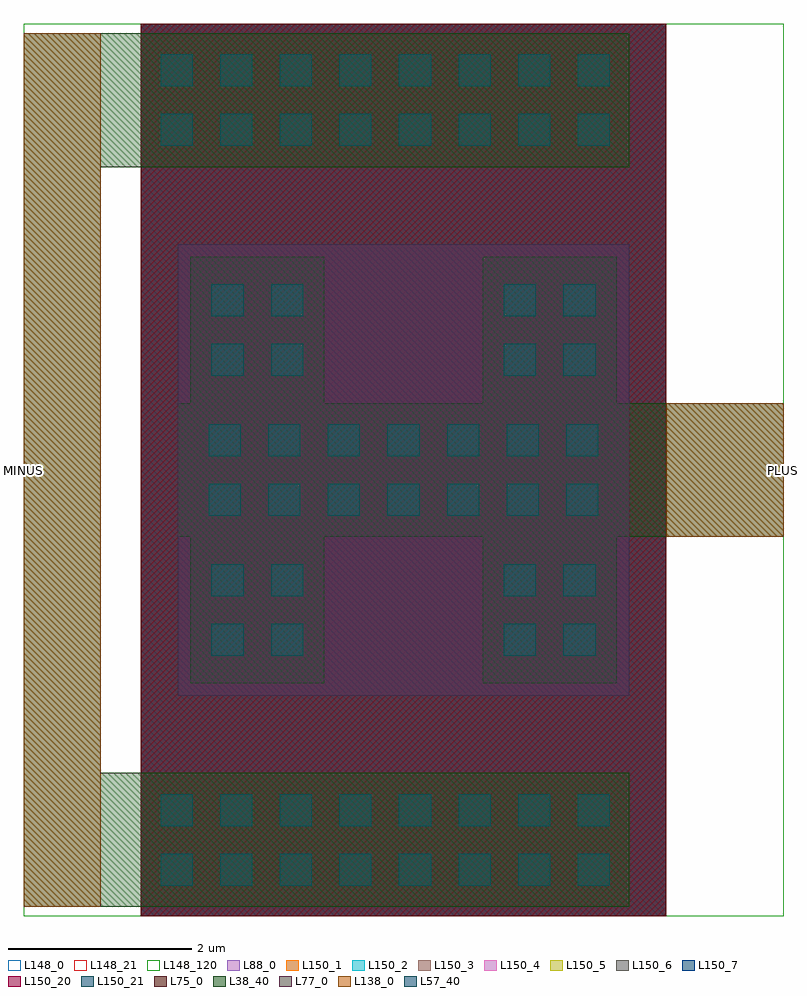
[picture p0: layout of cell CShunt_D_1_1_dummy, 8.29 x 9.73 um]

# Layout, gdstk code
import gdstk
lib = gdstk.Library(unit=1e-6, precision=1e-09)
def R(c, l, rs):  # rectangles x0, y0, x1, y1
    for r in rs: c.add(gdstk.rectangle(r[:2], r[2:], *l))
def A(c, l, x, y, w, h, nx, ny, dx, dy):  # array of equal rectangles
    R(c, l, [(x+i*dx, y+j*dy, x+i*dx+w, y+j*dy+h) for i in range(nx) for j in range(ny)])
L38_40 = (38, 40)
L57_40 = (57, 40)
L75_0 = (75, 0)
L77_0 = (77, 0)
L88_0 = (88, 0)
L138_0 = (138, 0)
L148_0 = (148, 0)
L148_21 = (148, 21)
L148_120 = (148, 120)
L150_1 = (150, 1)
L150_2 = (150, 2)
L150_3 = (150, 3)
L150_4 = (150, 4)
L150_5 = (150, 5)
L150_6 = (150, 6)
L150_7 = (150, 7)
L150_20 = (150, 20)
L150_21 = (150, 21)

cshunt_d_1_1_dummy = lib.new_cell('CShunt_D_1_1_dummy')
R(cshunt_d_1_1_dummy, L38_40, [(-1.68,-2.3,4.93,-0.84), (-1.68,-0.84,-0.84,5.77), (0.14,0.14,1.6,4.79), (3.33,0.14,4.79,4.79), (0,1.735,6.61,3.195), (-1.68,5.77,4.93,7.23)])
A(cshunt_d_1_1_dummy, L57_40, -0.185, -2.07, 0.35, 0.35, 8, 2, 0.65, 0.65)
A(cshunt_d_1_1_dummy, L57_40, 0.34, 1.965, 0.35, 0.35, 7, 2, 0.65, 0.65)
A(cshunt_d_1_1_dummy, L57_40, -0.185, 6, 0.35, 0.35, 8, 2, 0.65, 0.65)
R(cshunt_d_1_1_dummy, L57_40, [(0.37,0.437,0.72,0.787), (1.02,0.437,1.37,0.787), (3.56,0.437,3.91,0.787), (4.21,0.437,4.56,0.787), (0.37,1.087,0.72,1.437), (1.02,1.087,1.37,1.437), (3.56,1.087,3.91,1.437), (4.21,1.087,4.56,1.437), (0.37,3.492,0.72,3.842), (1.02,3.492,1.37,3.842), (3.56,3.492,3.91,3.842), (4.21,3.492,4.56,3.842), (0.37,4.142,0.72,4.492), (1.02,4.142,1.37,4.492), (3.56,4.142,3.91,4.492), (4.21,4.142,4.56,4.492)])
R(cshunt_d_1_1_dummy, L75_0, [(-0.4,-2.4,5.33,7.33)])
R(cshunt_d_1_1_dummy, L77_0, [(0,0,4.93,4.93)])
R(cshunt_d_1_1_dummy, L88_0, [(-0.4,-2.4,5.33,7.33)])
R(cshunt_d_1_1_dummy, L138_0, [(-1.68,-2.3,-0.84,7.23), (5.33,1.735,6.61,3.195)])
R(cshunt_d_1_1_dummy, L148_0, [(-1.68,-2.4,6.61,7.33)])
R(cshunt_d_1_1_dummy, L148_21, [(-1.68,-2.4,6.61,7.33)])
R(cshunt_d_1_1_dummy, L148_120, [(-1.68,-2.4,6.61,7.33)])
R(cshunt_d_1_1_dummy, L150_1, [(-0.4,-2.4,5.33,7.33)])
R(cshunt_d_1_1_dummy, L150_2, [(-0.4,-2.4,5.33,7.33)])
R(cshunt_d_1_1_dummy, L150_3, [(-0.4,-2.4,5.33,7.33)])
R(cshunt_d_1_1_dummy, L150_4, [(-0.4,-2.4,5.33,7.33)])
R(cshunt_d_1_1_dummy, L150_5, [(-0.4,-2.4,5.33,7.33)])
R(cshunt_d_1_1_dummy, L150_6, [(-0.4,-2.4,5.33,7.33)])
R(cshunt_d_1_1_dummy, L150_7, [(-0.4,-2.4,5.33,7.33)])
R(cshunt_d_1_1_dummy, L150_20, [(-0.4,-2.4,5.33,7.33)])
R(cshunt_d_1_1_dummy, L150_21, [(-0.4,-2.4,5.33,7.33)])
cshunt_d_1_1_dummy.add(gdstk.Label('MINUS', (-1.68,2.465), layer=138, texttype=0))
cshunt_d_1_1_dummy.add(gdstk.Label('PLUS', (6.61,2.465), layer=138, texttype=0))

lib.write_gds('CShunt_D_1_1_dummy.gds')
